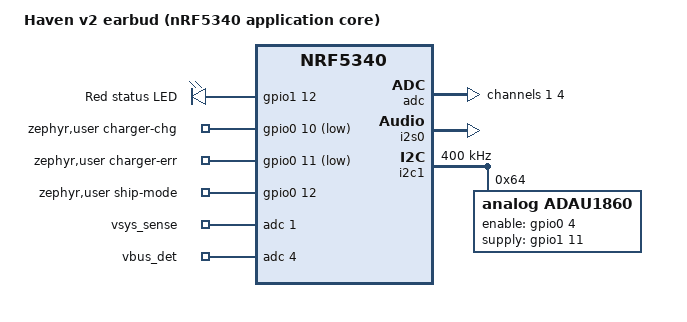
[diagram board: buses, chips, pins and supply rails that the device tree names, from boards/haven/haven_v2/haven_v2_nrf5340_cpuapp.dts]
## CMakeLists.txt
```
# Haven nRF5340 firmware — nRF Connect SDK (Zephyr) application
cmake_minimum_required(VERSION 3.20.0)

find_package(Zephyr REQUIRED HINTS $ENV{ZEPHYR_BASE})
project(haven_zephyr_app)

target_sources(app PRIVATE
  src/main.c
  src/ble_transport.c
  src/protocol.c
  src/adau1860_control.c
  src/lark_fdsp_program.c
  src/lark_eq_program.c
  src/tone_gen.c
  src/gatt_audio_service.c
  src/mock_audio_pipeline.c
  src/settings_store.c
  src/tone_safety.c
  src/ack.c
  src/wake_button.c
)

# Resolves DT_NODELABEL(tac5301) at file scope, which only the TAC5301 bench
# overlay defines.
target_sources_ifdef(CONFIG_HAVEN_CODEC_TAC5301 app PRIVATE src/tac5301_control.c)
```

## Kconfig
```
mainmenu "Haven nRF5340 firmware"

menu "Haven"

choice HAVEN_CODEC
	prompt "Which codec this build's control-port init targets"
	default HAVEN_CODEC_ADAU1860

config HAVEN_CODEC_ADAU1860
	bool "ADAU1860 (proven path; nRF5340 DK bench overlay and openearable_v2 board)"

config HAVEN_CODEC_TAC5301
	bool "TAC5301-Q1 (breadboard bench test; see TAC5301_BENCH_EXPERIMENT.md)"
	help
	  Pair with boards/nrf5340dk_nrf5340_cpuapp_tac5301.overlay (the
	  default nrf5340dk overlay targets the ADAU1860 instead, at a
	  different I2C address) -- that overlay's own header comment has the
	  exact west build invocation. tac5301_control.c is unit-tested on
	  host (tests/host/test_tac5301_coeffs.c) but, as of this option's
	  addition, NOT YET RUN ON REAL HARDWARE.
endchoice

config HAVEN_FDSP_RATE_HZ
	int "FastDSP frame rate the biquad coefficients are designed for (Hz)"
	default 192000
	help
	  Must equal the ADAU1860 FastDSP frame-rate source selected by
	  FDSP_CTRL4 (upstream OpenEarable: DMIC01 at 192 kHz). If a notch
	  commanded at f0 lands at f0/4 on hardware, this is what's wrong.
	  Q5.27 precision at 192 kHz is adequate for every band the protocol
	  allows (worst pure notch still >= 48.9 dB deep, centre error
	  <= 0.2 cents, all designs stable) -- see
	  tools/dsp/results/notch_quantisation.md. docs/fastdsp-program.md
	  has the evidence for the 192 kHz figure itself.

config HAVEN_FDSP_BANK
	int "FastDSP parameter bank to run (0 normal / 1 transparency / 2 ANC)"
	range 0 2
	default 1
	help
	  Upstream's three banks double as audio modes. Bank 0 zeroes the five
	  biquads (mic path silent); bank 1 is the hear-through path Haven's
	  bands are safeloaded into.

choice HAVEN_DAC_SOURCE
	prompt "What feeds the ADAU1860 DAC"
	default HAVEN_DAC_SOURCE_FDSP

config HAVEN_DAC_SOURCE_FDSP
	bool "FastDSP channel 0 (mic -> 5 biquads -> limiter): normal operation"

config HAVEN_DAC_SOURCE_DMIC_DIRECT
	bool "DMIC0 straight to the DAC: first-power-on smoke test, no DSP"
	help
	  Routes the raw PDM microphone to the DAC (DAC_ROUTE0 = 71, per ADI's
	  Lark SDK route enum). Use once on a fresh board: if you hear the room
	  the mic, clocks, DAC and receiver all work and any later silence is a
	  FastDSP program/routing question, not hardware. No filters and no
	  limiter are in this path -- never wear the device in this mode.

config HAVEN_DAC_SOURCE_EQ
	bool "Hardware EQ engine fed from DMIC0 (Route B): hear-through without a FastDSP program"
	help
	  Routes the PDM mic into the codec's dedicated EQ engine (EQ_ROUTE = 71)
	  and the EQ output to the DAC (DAC_ROUTE0 = 75). Haven's five bands are
	  written into the EQ's parameter banks (six biquad stages, 28-bit 4.24
	  words, [-a1,-a2,b0,b1,b2] -- see tools/dsp/eq_bank_decode.py) with
	  bank-flip updates. Independent of the FastDSP program's internal
	  routing, so it is the fallback if FastDSP hear-through is silent. The
	  FastDSP's expander/limiter are NOT in this path; the DAC output
	  ceiling (HAVEN_OUTPUT_CEILING_DB) still is. UNVERIFIED on hardware.
endchoice

config HAVEN_OUTPUT_CEILING_DB
	int "Hardware output ceiling: DAC digital volume in dB (24 .. -60)"
	range -60 24
	default 0
	help
	  Written to DAC_VOL0 at boot as code = (24 - dB) / 0.375 (ADI Lark SDK:
	  "output dB = 24 - 0.375 * volume; 0xFF mutes"). Sits after every DSP
	  path (FastDSP, EQ engine, I2S tone) and is not reachable from the app,
	  so it is the one level cap that holds regardless of what any program
	  or BLE client does. 0 dB reproduces upstream's setting to within
	  0.375 dB (upstream wrote code 63 = +0.375 dB). Digital only: the
	  mapping to dB SPL at the ear is unknown until acoustic calibration
	  (haven-app docs/calibration.md); lower this once that is measured.

config HAVEN_TONE_FULL_SCALE_DB
	int "LDL tone: commanded level_db that maps to 0 dBFS on the I2S link"
	range 0 120
	default 85
	help
	  Tone amplitude = 10^((level_db - this)/20) of full scale, so the
	  default puts the protocol's 85 dB ceiling at exactly 0 dBFS -- the
	  loudest the link can carry. This is a NOMINAL placeholder: the real
	  relationship between level_db and dB SPL at the eardrum has to be
	  measured on hardware (haven-app docs/calibration.md), after which
	  this constant -- or a per-frequency table replacing it -- gets the
	  measured value. Do not treat any dB number as physical until then.

choice HAVEN_TONE_ROUTE
	prompt "LDL tone: codec routing while a tone plays"
	default HAVEN_TONE_ROUTE_DAC_DIRECT
	help
	  See docs/tone-path.md.

config HAVEN_TONE_ROUTE_DAC_DIRECT
	bool "DAC fed from the I2S input; hear-through paused for the tone"
	help
	  Upstream OpenEarable's non-DSP playback route (DAC_ROUTE0 = I2S with
	  serial port 0 -> input ASRC 0). Known to make sound; guarantees the
	  tone is not shaped by the user's own notch filters, which an LDL test
	  requires. Costs hear-through for the duration of the tone.

config HAVEN_TONE_ROUTE_FDSP_MIX
	bool "DAC stays on the FastDSP; rely on the program's mixer slot (unverified)"
	help
	  Leaves DAC_ROUTE0 on FastDSP channel 0 and assumes upstream's
	  program mixes the I2S/ASRC path in at slot 8 after the biquads. Not
	  established -- for hardware experiments only.

endchoice

endmenu

source "Kconfig.zephyr"
```

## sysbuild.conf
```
# nRF5340 is dual-core: the application core (this project, cpuapp) has no
# direct radio hardware — the Bluetooth LE controller lives on the network
# core (cpunet). This tells sysbuild to build and flash the `ipc_radio`
# netcore image (NCS's unified net-core app, configured here for HCI
# serialization over IPC) automatically, connected to our app's Bluetooth
# Host over IPC. Without this, CONFIG_BT=y in prj.conf has nothing to talk
# to and BLE will silently fail to come up.
#
# NOTE: `hci_rpmsg` (the standalone sample this used to reference) was
# replaced by `ipc_radio` starting NCS 2.7 and no longer exists as of
# this repo's pinned v3.4.0 — see nrf/applications/ipc_radio and
# nrf/sysbuild/Kconfig.netcore.
#
# Requires building with sysbuild enabled: `west build --sysbuild ...`
# (see README.md).
SB_CONFIG_NETCORE_IPC_RADIO=y
SB_CONFIG_NETCORE_IPC_RADIO_BT_HCI_IPC=y
```

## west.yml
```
# West manifest for haven_zephyr_app as a standalone out-of-tree NCS
# application. Importing `nrf` pulls in the full nRF Connect SDK manifest
# (Zephyr, hal_nordic, etc.) at the pinned revision below, which is what lets
# `west init -l haven_zephyr_app` (see README.md) work without this repo
# vendoring any SDK code itself.
#
# NOTE: `revision` is pinned to the latest NCS release known at the time this
# file was written. Match it to whatever version nRF Connect for VS Code's
# Toolchain Manager actually installed on your machine (Toolchain Manager ->
# your install -> version string) before running `west update` — a mismatch
# won't fail loudly, it'll just fetch a different SDK version than the
# toolchain you have.
#
# NOTE: `repo-path: sdk-nrf` is required -- the actual GitHub repo is
# nrfconnect/sdk-nrf (renamed from fw-nrfconnect-nrf pre-NCS-1.3.0);
# `nrfconnect/nrf` hasn't existed for years. `name: nrf` still has to stay
# literally "nrf" though: that's what NCS's own manifest-import convention
# keys off of (`import: true` on a project named exactly `nrf`) and what
# the local checkout directory is named. Caught via CI (build 32871505752)
# — this was a real dormant bug, not a CI-environment issue: local builds
# never actually exercised this manifest from scratch, always pointing
# `west build` at a pre-existing NCS checkout set up via the official
# Toolchain Manager instead, which already used the correct path.
manifest:
  remotes:
    - name: ncs
      url-base: https://github.com/nrfconnect

  projects:
    - name: nrf
      repo-path: sdk-nrf
      remote: ncs
      revision: v3.4.0
      import: true

  self:
    path: haven_zephyr_app
```

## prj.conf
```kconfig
# ── Bluetooth LE peripheral ──────────────────────────────────────────────────
# On nRF5340 the Host runs here on the app core; the Controller runs on the
# network core via the hci_rpmsg image — see sysbuild.conf.
CONFIG_BT=y
CONFIG_BT_PERIPHERAL=y
CONFIG_BT_DEVICE_NAME="Haven"
CONFIG_BT_DEVICE_APPEARANCE=962
CONFIG_BT_MAX_CONN=1

# Nordic UART Service (NUS) from nRF Connect SDK
CONFIG_BT_NUS=y

# The app negotiates MTU 247 so a 5-band MULTI_FILTER JSON fits in one write.
CONFIG_BT_L2CAP_TX_MTU=247
CONFIG_BT_BUF_ACL_RX_SIZE=251
CONFIG_BT_BUF_ACL_TX_SIZE=251
CONFIG_BT_CTLR_DATA_LENGTH_MAX=251

# ── Buses to the ADAU1860 ───────────────────────────────────────────────────
# I2C1 is the control port (register access / parameter RAM safeload); I2S0
# carries audio data. See boards/nrf5340dk_nrf5340_cpuapp.overlay.
CONFIG_I2C=y
CONFIG_I2S=y

# ── Settings persistence (NVS) for Volume/FreqRange ─────────────────────────
# `storage_partition` already exists in the nRF5340 DK's default flash
# partition table (nrf5340_cpuapp_partition.dtsi) -- no overlay needed.
# CONFIG_SETTINGS=y + CONFIG_NVS=y is enough for the backend choice to
# default to SETTINGS_NVS.
CONFIG_FLASH=y
CONFIG_FLASH_MAP=y
CONFIG_NVS=y
CONFIG_SETTINGS=y

# ── Runtime ─────────────────────────────────────────────────────────────────
CONFIG_MAIN_STACK_SIZE=2048
CONFIG_SYSTEM_WORKQUEUE_STACK_SIZE=2048
CONFIG_HEAP_MEM_POOL_SIZE=4096

# ── Power management ─────────────────────────────────────────────────────────
# Baseline CPU idle power savings (WFE/WFI between work) -- this app has no
# device driver PM state machines to opt into yet (I2C/I2S/GPIO aren't runtime
# suspended), so CONFIG_PM_DEVICE is deliberately not enabled here. See
# ble_transport.c for the advertising-side power saving (fast->slow interval)
# and wake_button.c for the button0 wake trigger.
CONFIG_PM=y
CONFIG_GPIO=y

# strtof/printf of floats for JSON band parsing and logging
CONFIG_PICOLIBC=y
CONFIG_PICOLIBC_IO_FLOAT=y
CONFIG_CBPRINTF_FP_SUPPORT=y

# ── Logging ─────────────────────────────────────────────────────────────────
CONFIG_LOG=y
CONFIG_LOG_DEFAULT_LEVEL=3
CONFIG_USE_SEGGER_RTT=y

# Default 1024B up-buffer fills before boot even finishes (BT HCI core
# alone logs ~700B) and CONFIG_SEGGER_RTT_MODE_NO_BLOCK_SKIP means anything
# past a full buffer is silently dropped rather than blocking or
# overwriting — a snapshot dump taken any time after boot without a
# continuously-draining RTT client attached from t=0 will look like the
# firmware hung right after the last line that fit. Confirmed via
# arch_cpu_idle at the PC, not a crash. Bumped so a whole boot burst fits.
CONFIG_SEGGER_RTT_BUFFER_SIZE_UP=16384
```

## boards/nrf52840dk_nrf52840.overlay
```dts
/*
 * Devkit wiring for the ADAU1860 DSP.
 *
 * Control port  : I2C0  (ADAU1860 address 0x28 with ADDR0/ADDR1 low)
 * Fast download : SPI1  (self-boot/program + coefficient safeload path)
 *
 * Adjust pins to match the production PCB netlist when it lands.
 */

&i2c0 {
	status = "okay";
	clock-frequency = <I2C_BITRATE_FAST>;

	adau1860: adau1860@28 {
		compatible = "adi,adau1860";
		reg = <0x28>;
		status = "okay";
	};
};

&spi1 {
	status = "okay";
	cs-gpios = <&gpio0 20 GPIO_ACTIVE_LOW>;

	adau1860_spi: adau1860_spi@0 {
		compatible = "adi,adau1860-spi";
		reg = <0>;
		spi-max-frequency = <8000000>;
		status = "okay";
	};
};
```

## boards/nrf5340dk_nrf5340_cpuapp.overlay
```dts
/*
 * nRF5340 DK wiring for the ADAU1860 DSP — application core.
 *
 * Control port : I2C1 (Arduino-header pins on the DK; ADAU1860 at 0x64)
 * Audio data   : I2S0 (multichannel PCM to/from the DSP)
 *
 * This enables the DK's own default pin mapping for each peripheral rather
 * than hand-specifying pinctrl — there is no production PCB yet. Once the
 * Haven dev board schematic lands, replace this file's bus choice and add a
 * board-specific overlay alongside it; don't edit pins here blind.
 *
 * NOTE: confirm i2c1 is in fact the Arduino-header bus for your exact NCS/
 * Zephyr version before wiring real hardware to the DK — Nordic DK bus
 * numbering has occasionally shifted between SDK releases and board
 * revisions. i2c0 is the fallback if i2c1 turns out to be reserved for an
 * onboard peripheral on this revision.
 *
 * NOTE: 0x64 is the real ADAU1860 address per the actual Haven Dev Board
 * schematic (EasyEDA Pro, "OpenEarable - Main v2.7", ADDR0/ADDR1 strapping
 * — confirmed 2026-08-25, replacing the earlier 0x28 placeholder guessed
 * before any schematic existed). Address is a property of the chip's
 * strapping, not the board it's wired to, so this holds whether the real
 * ADAU1860 ends up bench-wired to this DK or on the production board
 * directly. The *bus* (i2c1 here) is still DK-specific, separate question
 * from the address -- the schematic's own "I2C1" label refers to the
 * production board's bus numbering, not necessarily this DK's &i2c1 node;
 * still needs reconciling once real hardware is in hand.
 *
 * REFERENCE — real Haven Dev Board pin assignments, read directly off the
 * MDBT531/MDBT53 (nRF5340) module symbol in the schematic (2026-08-25).
 * Recorded here for whenever a real board-specific overlay gets built;
 * NOT applied to the DK pins below, since the DK's Arduino header doesn't
 * expose several of these GPIOs at all (confirmed against its own
 * gpio-map -- e.g. P0.28 isn't broken out on this DK's header):
 *   I2C1 (dedicated ADAU1860 bus, separate from the main SDA/SCL used by
 *         the charger/fuel gauge): SDA1 = P1.15, SCL1 = P1.00
 *   I2S:  DIN (ADAU1860->nRF, i.e. SDIN) = P0.28
 *         BCLK                          = P1.10
 *         LRCLK                         = P0.30
 *         DOUT (nRF->ADAU1860, i.e. SDOUT) = P0.31
 *   No MCK net visible between the module and the ADAU1860 -- see the I2S
 *   pinctrl comment below for why.
 */

&i2c1 {
	status = "okay";
	clock-frequency = <I2C_BITRATE_FAST>;

	adau1860: adau1860@64 {
		compatible = "adi,adau1860";
		reg = <0x64>;
		status = "okay";
	};
};

/*
 * The DK's board-level pinctrl (nrf5340_cpuapp_common-pinctrl.dtsi) has no
 * i2s0 state at all — I2S isn't part of the DK's standard Arduino-header
 * mapping the way i2c1 is — so it's defined here instead. Routed to
 * Arduino D4-D8 (gpio1 6-10), which are otherwise unused by the DK's
 * leds/buttons/i2c1/uart0/uart1/qspi/spi4.
 *
 * NOTE: was assuming nRF5340 as I2S *master* -- switched to *slave*
 * (2026-08-25) based on real schematic evidence, not just a guess either
 * way: the ADAU1860 has its own dedicated 24.576MHz crystal directly on
 * its XTALI/XTALO pins, a classic audio master-clock frequency, strongly
 * suggesting *it* generates BCLK/LRCLK and the nRF5340 receives them --
 * standard architecture for a system where a dedicated audio DSP anchors
 * the clock domain. No MCK net is visible between the module and the
 * ADAU1860 in the schematic either, consistent with slave mode (MCK is
 * only meaningful as a master-mode output). Confirm against the ADAU1860
 * datasheet before this matters for real -- nothing exercises actual I2S
 * hardware yet either way (adau1860_control.c's audio path is still
 * unwired), so this is a documentation correction, not yet a functional
 * one.
 */
&pinctrl {
	i2s0_default: i2s0_default {
		group1 {
			psels = <NRF_PSEL(I2S_SCK_S, 1, 6)>,
				<NRF_PSEL(I2S_LRCK_S, 1, 7)>,
				<NRF_PSEL(I2S_SDOUT, 1, 8)>,
				<NRF_PSEL(I2S_SDIN, 1, 9)>;
		};
	};

	i2s0_sleep: i2s0_sleep {
		group1 {
			psels = <NRF_PSEL(I2S_SCK_S, 1, 6)>,
				<NRF_PSEL(I2S_LRCK_S, 1, 7)>,
				<NRF_PSEL(I2S_SDOUT, 1, 8)>,
				<NRF_PSEL(I2S_SDIN, 1, 9)>;
			low-power-enable;
		};
	};
};

&i2s0 {
	status = "okay";
	pinctrl-0 = <&i2s0_default>;
	pinctrl-1 = <&i2s0_sleep>;
	pinctrl-names = "default", "sleep";
};
```

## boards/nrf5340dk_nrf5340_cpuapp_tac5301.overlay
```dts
/*
 * nRF5340 DK bench wiring for a TAC5301-Q1 (breadboard, chip hand-soldered
 * to a QFN-24 0.5mm adapter board) — application core.
 *
 * Control port : I2C1 (Arduino-header SDA/SCL on the DK; TAC5301 at 0x50 --
 *                datasheet SLASFD9A §6.4.1, "the 7-bit I2C target address
 *                is fixed to 7'b1010000"). No enable/reset pin to drive,
 *                unlike the ADAU1860 overlay's P1.04 -- confirmed from this
 *                driver's own binding note (dts/bindings/ti,tac5301-q1.yaml):
 *                the part's only pins are power rails, I2C, and the audio
 *                serial bus.
 * Audio data   : I2S0, nRF5340 as MASTER -- same 4 pins as the default
 *                nrf5340dk overlay's ADAU1860 bench (Arduino D4-D7 /
 *                gpio1 6-9), so both bench setups share identical physical
 *                wiring and only the chip on the breadboard changes.
 *                tone_gen.c's calibration tone still goes out on SDOUT, but
 *                the TAC5301 ignores it for this test: MIXER_CFG0's
 *                EN_DAC_ASI_MIXER bit is left at its reset default 0 (see
 *                TAC5301_BENCH_EXPERIMENT.md register-write step 4), so the
 *                DAC hears only the chip's internal ADC -> loopback-mixer ->
 *                DAC path. BCLK/FSYNC still have to toggle continuously --
 *                that's the only reason I2S needs to be live at all here --
 *                for the TAC5301's PLL to lock onto them (datasheet §6.3.2:
 *                every internal clock auto-configures off the BCLK/FSYNC
 *                ratio, no MCLK pin on this part).
 *
 * This DK is only a bench for the codec's control plane, same role as the
 * default overlay's ADAU1860 bench. Build with:
 *
 *   west build -b nrf5340dk/nrf5340/cpuapp --sysbuild haven_zephyr_app -- \
 *     -DBOARD_ROOT="$(pwd)" \
 *     -DEXTRA_DTC_OVERLAY_FILE=boards/nrf5340dk_nrf5340_cpuapp_tac5301.overlay \
 *     -DCONFIG_HAVEN_CODEC_TAC5301=y
 *
 * (EXTRA_DTC_OVERLAY_FILE layers on top of the board's own default overlay,
 * nrf5340dk_nrf5340_cpuapp.overlay -- it does not replace it. That file's
 * adau1860@64 node is deliberately left in place next to tac5301@50 (different
 * addresses, no bus conflict): adau1860_control.c resolves its node at file
 * scope and is still linked, since main.c/tone_safety.c call into it, so
 * deleting the node breaks the build. In this build its init never runs, so
 * nothing ever drives its enable pin or talks to 0x64. The i2c1 bus node, i2s0 pinctrl, i2s0, and
 * clock nodes below re-specify the same properties the default overlay
 * already sets, which devicetree overlays merge rather than conflict on, so
 * restating them here is just for this file to read standalone.)
 *
 * Bench power rails (see TAC5301_BENCH_EXPERIMENT.md): IOVDD/AVDD/DVDD
 * (1.8V/3.3V) can come straight off the DK's own external-supply pin
 * (P20 pin 2, SW9=VDD / SW10=OFF, 1.7-3.6V range, <=100mA -- confirmed
 * against Nordic's nRF5340 DK v2.0.0 hardware guide, "Supplying a custom
 * board" section) instead of a separate bench supply. HVDD (the mic-bias
 * rail, ~9V) is the one rail the DK genuinely cannot produce -- needs a
 * separate 9V source (a 9V battery is fine for a bench test).
 */

&i2c1 {
	status = "okay";
	clock-frequency = <I2C_BITRATE_FAST>;

	tac5301: tac5301@50 {
		compatible = "ti,tac5301-q1";
		reg = <0x50>;
		status = "okay";
	};
};

&pinctrl {
	i2s0_default: i2s0_default {
		group1 {
			psels = <NRF_PSEL(I2S_SCK_M, 1, 6)>,
				<NRF_PSEL(I2S_LRCK_M, 1, 7)>,
				<NRF_PSEL(I2S_SDOUT, 1, 8)>,
				<NRF_PSEL(I2S_SDIN, 1, 9)>;
		};
	};

	i2s0_sleep: i2s0_sleep {
		group1 {
			psels = <NRF_PSEL(I2S_SCK_M, 1, 6)>,
				<NRF_PSEL(I2S_LRCK_M, 1, 7)>,
				<NRF_PSEL(I2S_SDOUT, 1, 8)>,
				<NRF_PSEL(I2S_SDIN, 1, 9)>;
			low-power-enable;
		};
	};
};

&i2s0 {
	status = "okay";
	pinctrl-0 = <&i2s0_default>;
	pinctrl-1 = <&i2s0_sleep>;
	pinctrl-names = "default", "sleep";
	clock-source = "ACLK";
};

&clock {
	hfclkaudio-frequency = <12288000>;
};
```

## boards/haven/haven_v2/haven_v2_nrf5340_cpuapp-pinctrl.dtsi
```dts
/*
 * Haven v2 pin map, from the v2 schematic (haven-dev-board-kicad, kicad_v2/README.md,
 * "nRF5340 pin map vs v1"). The MDBT53V-1M brings out only 25 GPIOs, so the codec bus and
 * I2S moved off v1's pins.
 */
&pinctrl {
	/* nRF5340 is I2S master. SDOUT P0.15 -> codec SDATAI_0 (net DIN),
	 * SDIN P0.31 <- codec SDATAO_0 (net DOUT). No MCK: the codec runs from its own crystal. */
	i2s0_default: i2s0_default {
		group1 {
			psels = <NRF_PSEL(I2S_SCK_M, 0, 13)>,
				<NRF_PSEL(I2S_LRCK_M, 0, 14)>,
				<NRF_PSEL(I2S_SDOUT, 0, 15)>,
				<NRF_PSEL(I2S_SDIN, 0, 31)>;
		};
	};

	i2s0_sleep: i2s0_sleep {
		group1 {
			psels = <NRF_PSEL(I2S_SCK_M, 0, 13)>,
				<NRF_PSEL(I2S_LRCK_M, 0, 14)>,
				<NRF_PSEL(I2S_SDOUT, 0, 15)>,
				<NRF_PSEL(I2S_SDIN, 0, 31)>;
			low-power-enable;
		};
	};

	/* Codec control port. P1.02/P1.03 are also the nRF5340's dedicated
	 * pins for 1 Mbit/s TWIM, so this bus can go faster later. */
	i2c1_default: i2c1_default {
		group1 {
			psels = <NRF_PSEL(TWIM_SCL, 1, 3)>,
				<NRF_PSEL(TWIM_SDA, 1, 2)>;
		};
	};

	i2c1_sleep: i2c1_sleep {
		group1 {
			psels = <NRF_PSEL(TWIM_SCL, 1, 3)>,
				<NRF_PSEL(TWIM_SDA, 1, 2)>;
			low-power-enable;
		};
	};
};
```

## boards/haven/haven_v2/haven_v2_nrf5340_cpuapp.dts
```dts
/*
 * Haven v2 earbud, application core: Raytac MDBT53V-1M (nRF5340), ADAU1860 codec,
 * SPH0641 PDM mic (into the codec), Nordic nPM1100 PMIC, charged through two case
 * pogo pins. No USB, button, UART, flash, SD, IMU or fuel gauge.
 */

/dts-v1/;
#include <nordic/nrf5340_cpuapp_qkaa.dtsi>
#include "haven_v2_nrf5340_cpuapp-pinctrl.dtsi"

/ {
	model = "Haven v2 earbud (nRF5340 application core)";
	compatible = "haven,haven-v2-nrf5340-cpuapp";

	chosen {
		zephyr,sram = &sram0_image;
		zephyr,flash = &flash0;
		zephyr,code-partition = &slot0_partition;
		zephyr,sram-secure-partition = &sram0_s;
		zephyr,sram-non-secure-partition = &sram0_ns;
		zephyr,bt-hci = &bt_hci_ipc0;
		watchdog0 = &wdt0;
	};

	leds {
		compatible = "gpio-leds";
		/* Red status LED, switched by Q2 (gate high = on). */
		led_status: led_status {
			gpios = <&gpio1 12 GPIO_ACTIVE_HIGH>;
			label = "Red status LED";
		};
	};

	aliases {
		led0 = &led_status;
		watchdog0 = &wdt0;
	};

	/*
	 * nPM1100 signals and ADC inputs. No driver uses these yet; they are here so
	 * charger/battery code has one place to read the pins from
	 * (DT_PATH(zephyr_user), e.g. GPIO_DT_SPEC_GET(DT_PATH(zephyr_user), charger_chg_gpios)).
	 *  - CHG / ERR: nPM1100 open-drain outputs, low = charging / error.
	 *  - SHPACT: high puts the PMIC in ship mode (it leaves ship mode when the
	 *    bud is put back in the case and VBUS appears).
	 *  - io-channels: battery level (VSYS divider, AIN1) and in-case detect (VBUS divider, AIN4).
	 */
	zephyr,user {
		charger-chg-gpios = <&gpio0 10 (GPIO_ACTIVE_LOW | GPIO_PULL_UP)>;
		charger-err-gpios = <&gpio0 11 (GPIO_ACTIVE_LOW | GPIO_PULL_UP)>;
		ship-mode-gpios = <&gpio0 12 GPIO_ACTIVE_HIGH>;
		io-channels = <&adc 1>, <&adc 4>;
		io-channel-names = "vsys_sense", "vbus_det";
	};
};

&clock {
	/* 12.288 MHz audio PLL for an exact 48 kHz I2S frame clock. */
	hfclkaudio-frequency = <12288000>;
};

/* 32 MHz crystal inside the module. Same setting as v1's MDBT53-1M; confirm against the
 * MDBT53V-1M spec before production. */
&hfxo {
	load-capacitors = "internal";
	load-capacitance-femtofarad = <8000>;
};

/* 32.768 kHz crystal with external 9 pF caps (C2/C14), as on v1. */
&lfxo {
	load-capacitors = "external";
};

&gpiote {
	status = "okay";
};

&gpio0 {
	status = "okay";
};

&gpio1 {
	status = "okay";
};

&adc {
	status = "okay";
	#address-cells = <1>;
	#size-cells = <0>;

	/* Dividers are ~1 MOhm source impedance, so use the longest acquisition time. */
	channel@1 {
		reg = <1>;
		zephyr,gain = "ADC_GAIN_1_6";
		zephyr,reference = "ADC_REF_INTERNAL";
		zephyr,acquisition-time = <ADC_ACQ_TIME(ADC_ACQ_TIME_MICROSECONDS, 40)>;
		zephyr,input-positive = <NRF_SAADC_AIN1>; /* P0.05, VSYS_SENSE */
		zephyr,resolution = <12>;
	};

	channel@4 {
		reg = <4>;
		zephyr,gain = "ADC_GAIN_1_6";
		zephyr,reference = "ADC_REF_INTERNAL";
		zephyr,acquisition-time = <ADC_ACQ_TIME(ADC_ACQ_TIME_MICROSECONDS, 40)>;
		zephyr,input-positive = <NRF_SAADC_AIN4>; /* P0.25, VBUS_DET */
		zephyr,resolution = <12>;
	};
};

&i2s0 {
	compatible = "nordic,nrf-i2s";
	status = "okay";
	pinctrl-0 = <&i2s0_default>;
	pinctrl-1 = <&i2s0_sleep>;
	pinctrl-names = "default", "sleep";
	clock-source = "ACLK";
};

&i2c1 {
	compatible = "nordic,nrf-twim";
	status = "okay";
	pinctrl-0 = <&i2c1_default>;
	pinctrl-1 = <&i2c1_sleep>;
	pinctrl-names = "default", "sleep";
	clock-frequency = <I2C_BITRATE_FAST>;

	adau1860: adau1860@64 {
		compatible = "analog,adau1860";
		reg = <0x64>;
		enable-gpios = <&gpio0 4 GPIO_ACTIVE_HIGH>;   /* PD# (ball E4) */
		/* U3 load switch (SENSORS_ENABLE): powers the codec and the mic. */
		supply-gpios = <&gpio1 11 GPIO_ACTIVE_HIGH>;
		supply-delay-us = <300>;
	};
};

#include <nordic/nrf5340_cpuapp_partition.dtsi>
```

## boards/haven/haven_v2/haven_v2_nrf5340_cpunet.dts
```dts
/*
 * Haven v2 earbud, network core (BLE controller via ipc_radio). No peripherals pinned here.
 */

/dts-v1/;
#include <nordic/nrf5340_cpunet_qkaa.dtsi>

/ {
	model = "Haven v2 earbud (nRF5340 network core)";
	compatible = "haven,haven-v2-nrf5340-cpunet";

	chosen {
		zephyr,bt-hci-ipc = &ipc0;
		zephyr,sram = &sram1;
		zephyr,flash = &flash1;
		zephyr,code-partition = &slot0_partition;
		watchdog0 = &wdt0;
	};
};

&gpiote {
	status = "okay";
};

&flash1 {
	partitions {
		compatible = "fixed-partitions";
		#address-cells = <1>;
		#size-cells = <1>;

		boot_partition: partition@0 {
			label = "mcuboot";
			reg = <0x00000000 0xc000>;
		};
		slot0_partition: partition@c000 {
			label = "image-0";
			reg = <0x0000C000 0x12000>;
		};
		slot1_partition: partition@1e000 {
			label = "image-1";
			reg = <0x0001E000 0x12000>;
		};
		storage_partition: partition@3a000 {
			label = "storage";
			reg = <0x0003a000 0x6000>;
		};
	};
};

#include <nordic/nrf5340_shared_sram_partition.dtsi>
```

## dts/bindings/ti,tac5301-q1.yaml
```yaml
# TAC5301-Q1 mono audio codec, I2C control port.
#
# Unlike the ADAU1860 binding (analog,adau1860.yaml), this part has no
# enable/reset pin at all -- confirmed from the datasheet's pin table
# (SLASFD9A section 4): only power rails, I2C, and the audio serial bus.
# Bring-up is power-rail sequencing (datasheet section 6.4) plus I2C writes,
# nothing GPIO-driven.

description: Texas Instruments TAC5301-Q1 mono audio codec (I2C control port)

compatible: "ti,tac5301-q1"

include: i2c-device.yaml
```

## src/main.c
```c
/* Haven nRF5340 firmware
 *
 * Pipeline: NUS write → line assembler → protocol_parse_line() → ADAU1860
 * driver → one JSON ack back over NUS TX. Parsing, DSP dispatch and the ack
 * run in the BLE receive path (Bluetooth RX thread); nothing here blocks.
 */
#include <zephyr/kernel.h>
#include <zephyr/logging/log.h>

#if __has_include(<app_version.h>)
#include <app_version.h>
#endif
#ifndef APP_VERSION_STRING
#define APP_VERSION_STRING "dev"
#endif

#include "ack.h"
#include "adau1860_control.h"
#include "ble_transport.h"
#include "gatt_audio_service.h"
#include "mock_audio_pipeline.h"
#include "protocol.h"
#include "settings_store.h"
#ifdef CONFIG_HAVEN_CODEC_TAC5301
#include "tac5301_control.h"
#endif
#include "tone_gen.h"
#include "tone_safety.h"
#include "wake_button.h"

LOG_MODULE_REGISTER(main, LOG_LEVEL_INF);

/* Best-effort: an ack the link can't take right now (-ENOMEM/-EAGAIN when
 * the TX buffer pool is exhausted, -ENOTCONN if the phone left between the
 * write and the reply) is dropped, not retried -- the app treats acks as
 * confirmation, not as state, and a retry loop in the BT RX path would be
 * worse than a missing ack.
 */
static void send_line(const char *buf, int len)
{
	if (len <= 0) {
		return;
	}
	int err = ble_transport_send(buf, (size_t)len);

	if (err) {
		LOG_DBG("ack dropped (err %d)", err);
	}
}

static int dispatch(const struct dsp_command *cmd)
{
	int err = 0;

	switch (cmd->type) {
	case DSP_CMD_MULTI_FILTER:
		LOG_INF("MULTI_FILTER: %u band(s)", cmd->band_count);
		err = adau1860_control_set_bypass(false);
		if (!err) {
			err = adau1860_control_apply_filters(cmd->bands, cmd->band_count);
		}
		break;
	case DSP_CMD_BYPASS:
		err = adau1860_control_set_bypass(cmd->bypass_enabled);
		break;
	case DSP_CMD_TONE_START:
		tone_safety_start(cmd->tone_f0_hz, cmd->tone_level_db);
		break;
	case DSP_CMD_TONE_LEVEL:
		tone_safety_set_level(cmd->tone_level_db);
		break;
	case DSP_CMD_TONE_STOP:
		tone_safety_stop();
		break;
	default:
		break;
	}
	return err;
}

static void handle_line(const char *line)
{
	struct dsp_command cmd;
	char ack[ACK_MAX_LEN];
	int err = protocol_parse_line(line, &cmd);

	if (err) {
		LOG_WRN("Rejected payload: %s", line);
		send_line(ack, ack_format_rejected(ack, sizeof(ack)));
		return;
	}

	err = dispatch(&cmd);
	send_line(ack, ack_format_command(&cmd, err, ack, sizeof(ack)));
}

/* tone_safety.c auto-silenced a tone (no keep-alive). Tell the app, which
 * otherwise only learns its own ramp state machine has gone quiet.
 */
static void on_tone_watchdog(void)
{
	char ev[ACK_MAX_LEN];

	send_line(ev, ack_format_event_tone_watchdog(ev, sizeof(ev)));
}

/* The app subscribes to NUS TX right after connecting; the boot event is
 * how it learns which firmware (and which DAC source / FastDSP rate) it is
 * talking to, so a smoke-test build can never masquerade as the product.
 */
static void on_ble_connected(void)
{
	char ev[ACK_MAX_LEN];

	adau1860_control_on_ble_connected();
	send_line(ev, ack_format_event_boot(APP_VERSION_STRING,
					     (uint32_t)ADAU1860_FDSP_RATE_HZ,
					     IS_ENABLED(CONFIG_HAVEN_DAC_SOURCE_DMIC_DIRECT)
						     ? "dmic_direct"
						     : "fdsp",
					     ev, sizeof(ev)));
}

/* Losing the BLE link must silence any active tone immediately, the same
 * way haven-app's own useLdlTone does on its side (docs/safety.md) --
 * independently, not because the app told us to. A plain wrapper here
 * (rather than teaching adau1860_control.c about tone_safety.c) keeps that
 * module's only dependency on tone_safety.h one-directional.
 */
static void on_ble_disconnected(void)
{
	adau1860_control_on_ble_disconnected();
	tone_safety_stop();
}

int main(void)
{
	LOG_INF("Haven firmware boot (%s)", APP_VERSION_STRING);

	int err;

#ifdef CONFIG_HAVEN_CODEC_TAC5301
	/* Bench build: everything else in this file (BLE/GATT, tone_gen's
	 * I2S0-master clock, mock pipeline) boots unchanged. tone_gen's I2S0
	 * clock has to run even though the TAC5301 ignores its data -- it's the
	 * BCLK/FSYNC the TAC5301's PLL locks to (TAC5301_BENCH_EXPERIMENT.md
	 * step 2). The ADAU1860 calls elsewhere (BLE command handlers,
	 * tone_safety.c) are still linked and would just fail with no device at
	 * 0x64 -- no BLE client is expected during this bench test.
	 */
	err = tac5301_control_init();
	if (err) {
		LOG_ERR("TAC5301 control init failed (err %d)", err);
	}
#else
	err = adau1860_control_init();
	if (err) {
		LOG_ERR("ADAU1860 control init failed (err %d)", err);
	}
#endif

	/* nRF-side LDL tone generator (I2S0 master). Independent of the codec
	 * init above: on a DK without a codec it still streams, which is how
	 * the I2S clocking gets checked with a scope. */
	err = tone_gen_init();
	if (err) {
		LOG_WRN("Tone generator init failed (err %d) -- TONE_* will be no-ops", err);
	}

	tone_safety_set_watchdog_cb(on_tone_watchdog);
	ble_transport_set_conn_callbacks(on_ble_connected, on_ble_disconnected);

	err = ble_transport_init(handle_line);
	if (err) {
		LOG_ERR("BLE init failed (err %d)", err);
		return err;
	}

	/* BT_GATT_SERVICE_DEFINE registers the service automatically inside
	 * bt_enable() (called from ble_transport_init() above); this just
	 * confirms it and logs the bench-default parameter values.
	 */
	gatt_audio_service_init();
	mock_audio_pipeline_init();

	/* After mock_audio_pipeline_init() so a restored value's callback
	 * (registered by that call) actually fires -- otherwise the pipeline
	 * would start from its own hardcoded defaults instead of whatever
	 * was last saved.
	 */
	haven_settings_init();

	err = wake_button_init();
	if (err) {
		LOG_WRN("Wake button init failed (err %d) -- continuing without it", err);
	}

	LOG_INF("Ready — waiting for app connection");
	return 0;
}
```

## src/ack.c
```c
#include "ack.h"

#include <stdio.h>

#include "ble_transport.h"

static const char *cmd_type_name(enum dsp_command_type type)
{
	switch (type) {
	case DSP_CMD_MULTI_FILTER:
		return "MULTI_FILTER";
	case DSP_CMD_BYPASS:
		return "BYPASS";
	case DSP_CMD_TONE_START:
		return "TONE_START";
	case DSP_CMD_TONE_LEVEL:
		return "TONE_LEVEL";
	case DSP_CMD_TONE_STOP:
		return "TONE_STOP";
	default:
		return "UNKNOWN";
	}
}

void ack_send(enum dsp_command_type type)
{
	char msg[48];
	int len = snprintf(msg, sizeof(msg), "{\"type\":\"ACK\",\"cmd\":\"%s\"}\n",
			    cmd_type_name(type));

	/* A future cmd_type_name() entry longer than fits would truncate/
	 * misformat rather than send garbage -- snprintf's own return value
	 * (would-have-written length) makes that case detectable here rather
	 * than sending a corrupt ack.
	 */
	if (len > 0 && len < (int)sizeof(msg)) {
		ble_transport_send(msg, (size_t)len);
	}
}

void ack_send_error(void)
{
	static const char msg[] = "{\"type\":\"ERROR\"}\n";

	ble_transport_send(msg, sizeof(msg) - 1);
}
```

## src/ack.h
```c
/* Device -> app acks over NUS TX.
 *
 * ble_transport_send() has existed since the transport was written for
 * exactly this purpose ("Optional device -> app notification (status/acks)
 * over NUS TX"), but nothing ever called it -- the app never subscribed
 * either. Both were roadmap items (docs/roadmap.md, "Next -- app").
 *
 * Kept deliberately tiny: which command landed, or that the line was
 * rejected -- not a structured error taxonomy. The app only needs enough
 * to show a quiet "applied"/"error" state, not a JSON dump (that's exactly
 * what the old TX monitor did and was removed for being too
 * engineering-facing).
 */
#ifndef HAVEN_ACK_H_
#define HAVEN_ACK_H_

#include "protocol.h"

/* Sends {"type":"ACK","cmd":"<name>"}\n over NUS TX. No-op (silently) if
 * there's no active connection -- ble_transport_send() already handles
 * that, same as every other outbound message on this link.
 */
void ack_send(enum dsp_command_type type);

/* Sends {"type":"ERROR"}\n over NUS TX, for a line that failed to parse. */
void ack_send_error(void);

#endif /* HAVEN_ACK_H_ */
```

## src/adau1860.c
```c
#include "adau1860.h"

#include <math.h>

#include <zephyr/kernel.h>
#include <zephyr/logging/log.h>

LOG_MODULE_REGISTER(adau1860, LOG_LEVEL_INF);

#define ADAU1860_SAMPLE_RATE_HZ 48000.0f

/* ── Bus placeholders ───────────────────────────────────────────────────────
 * TODO(hw-bringup): bind to the devicetree nodes (adi,adau1860 on i2c0 and
 * adi,adau1860-spi on spi1) and implement the real control-port transactions,
 * including the safeload handshake for glitch-free coefficient swaps.
 */

static int adau1860_i2c_write(uint16_t reg, const uint8_t *data, size_t len)
{
	LOG_DBG("I2C write [placeholder]: reg 0x%04x, %u bytes", reg,
		(unsigned int)len);
	return 0;
}

static int adau1860_spi_burst_write(uint32_t addr, const uint8_t *data,
				    size_t len)
{
	LOG_DBG("SPI burst [placeholder]: addr 0x%08x, %u bytes", addr,
		(unsigned int)len);
	return 0;
}

/* ── Coefficient math ───────────────────────────────────────────────────────
 * Same RBJ cookbook math validated on the Teensy prototype and in
 * tinnitus_dsp/test_filter.py, extended with a variable-depth peaking cut:
 * at PROTOCOL_ATTEN_MAX_DB the band degenerates to the classic notch.
 */
static void calc_band_coeffs(const struct filter_band *band,
			     struct adau1860_biquad *c)
{
	float w0 = 2.0f * (float)M_PI * (band->f0_hz / ADAU1860_SAMPLE_RATE_HZ);
	float alpha = sinf(w0) / (2.0f * band->q);
	float cosw0 = cosf(w0);

	if (band->atten_db >= PROTOCOL_ATTEN_MAX_DB) {
		/* Pure notch */
		float a0 = 1.0f + alpha;

		c->b0 = 1.0f / a0;
		c->b1 = -2.0f * cosw0 / a0;
		c->b2 = 1.0f / a0;
		c->a1 = -2.0f * cosw0 / a0;
		c->a2 = (1.0f - alpha) / a0;
	} else {
		/* Peaking EQ cut of atten_db decibels */
		float A = powf(10.0f, -band->atten_db / 40.0f);
		float a0 = 1.0f + alpha / A;

		c->b0 = (1.0f + alpha * A) / a0;
		c->b1 = -2.0f * cosw0 / a0;
		c->b2 = (1.0f - alpha * A) / a0;
		c->a1 = -2.0f * cosw0 / a0;
		c->a2 = (1.0f - alpha / A) / a0;
	}
}

/* ── Public API ─────────────────────────────────────────────────────────────*/

int adau1860_init(void)
{
	/* TODO(hw-bringup): read CHIP_ID register, verify, release HIBERNATE,
	 * SPI-download the SigmaStudio+ program image, start the DSP core.
	 */
	LOG_INF("ADAU1860 init [placeholder] — no hardware transactions yet");
	return 0;
}

int adau1860_apply_filters(const struct filter_band *bands, size_t count)
{
	if (count > PROTOCOL_MAX_BANDS) {
		count = PROTOCOL_MAX_BANDS;
	}

	for (size_t i = 0; i < count; i++) {
		struct adau1860_biquad c;

		calc_band_coeffs(&bands[i], &c);

		LOG_INF("Band %u: f0=%.1f Hz Q=%.1f atten=%.1f dB", (unsigned int)i,
			(double)bands[i].f0_hz, (double)bands[i].q,
			(double)bands[i].atten_db);

		/* TODO(hw-bringup): convert c to the DSP's coefficient format
		 * and safeload into the parameter RAM slot for stage i:
		 *   adau1860_i2c_write(PARAM_RAM_STAGE(i), coeff_bytes, len);
		 */
		ARG_UNUSED(c);
	}

	/* TODO(hw-bringup): zero the coefficients of the (MAX_BANDS - count)
	 * unused cascade stages so stale filters don't linger.
	 */
	(void)adau1860_i2c_write;
	(void)adau1860_spi_burst_write;
	return 0;
}

int adau1860_set_bypass(bool enabled)
{
	/* TODO(hw-bringup): flip the DSP program's bypass mux register. */
	LOG_INF("Bypass [placeholder]: %s", enabled ? "ENABLED" : "disabled");
	return 0;
}
```

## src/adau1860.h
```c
/* ADAU1860 DSP control driver — SCAFFOLD.
 *
 * The nRF52 is control-port master to the ADAU1860:
 *   - I2C  : register access / parameter RAM safeload (default path)
 *   - SPI  : bulk program download (self-boot image, coefficient blocks)
 *
 * Everything here is a placeholder: the bus transactions are stubbed until
 * the production PCB arrives and the SigmaStudio+ program layout (parameter
 * RAM addresses for each biquad stage) is exported.
 */
#ifndef HAVEN_ADAU1860_H_
#define HAVEN_ADAU1860_H_

#include <stdbool.h>
#include <stddef.h>
#include <stdint.h>

#include "protocol.h"

/* One biquad stage in the form the DSP program consumes.
 * NOTE: coefficient number format (8.24 fixed vs 32-bit float) depends on the
 * ADAU1860 core config exported from SigmaStudio+ — TODO confirm and convert
 * in adau1860_apply_filters().
 */
struct adau1860_biquad {
	float b0, b1, b2, a1, a2;
};

/* Bring-up: verify device ID over I2C, release from reset, load DSP program.
 * Currently logs and returns 0 without touching hardware.
 */
int adau1860_init(void);

/* Compute biquad coefficients for each band and push them into the DSP's
 * parameter RAM (safeload). Bands with atten_db < PROTOCOL_ATTEN_MAX_DB get a
 * peaking-cut EQ of that depth; at the max they collapse to a pure notch.
 */
int adau1860_apply_filters(const struct filter_band *bands, size_t count);

/* True = audio passes through unprocessed. */
int adau1860_set_bypass(bool enabled);

#endif /* HAVEN_ADAU1860_H_ */
```

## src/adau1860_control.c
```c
#include "adau1860_control.h"

#include <math.h>
#include <string.h>

/* picolibc's math.h only exposes M_PI under a feature-test macro that
 * -std=c17 doesn't define. */
#ifndef M_PI
#define M_PI 3.14159265358979323846f
#endif

#include <zephyr/kernel.h>
#include <zephyr/logging/log.h>
#include <zephyr/drivers/i2c.h>

LOG_MODULE_REGISTER(adau1860_control, LOG_LEVEL_INF);

#define ADAU1860_SAMPLE_RATE_HZ 48000.0f

/* ── Bus binding ─────────────────────────────────────────────────────────
 * Resolved from the "adau1860" child node declared under &i2c1 in
 * boards/nrf5340dk_nrf5340_cpuapp.overlay. I2C_DT_SPEC_GET works without a
 * dedicated Zephyr driver binding for the ADAU1860 itself — it only needs a
 * `reg` property and a bus parent with a real driver (nordic,nrf-twim).
 */
static const struct i2c_dt_spec adau1860_i2c = I2C_DT_SPEC_GET(DT_NODELABEL(adau1860));

/* ── Generic SigmaDSP register I/O ────────────────────────────────────────
 * The ADAU1860 is part of ADI's SigmaDSP family; its own datasheet doesn't
 * publish a general register map (confirmed against the datasheet, the
 * product FAQ, and EngineerZone community reports -- Analog Devices expects
 * register-level programming to come from a SigmaStudio+-exported firmware
 * blob, not hand-picked addresses). What *is* standardized across the whole
 * SigmaDSP family, and confirmed against both the Linux kernel's generic
 * `sigmadsp` codec driver and a real, widely-used Arduino reference
 * implementation (MCUdude/SigmaDSP): 16-bit register addresses, sent
 * big-endian (MSByte first) immediately before the data payload, on both
 * plain register writes and multi-byte "safeload" writes. This layer
 * implements exactly that framing and nothing chip-specific -- callers still
 * need real addresses, which come from the SigmaStudio+ export once it
 * exists (see adau1860_control_init()'s TODO below).
 */
int adau1860_i2c_write_reg(uint16_t addr, const uint8_t *data, size_t len)
{
	uint8_t addr_buf[2] = { (uint8_t)(addr >> 8), (uint8_t)(addr & 0xFF) };
	/* Two messages, only the last carrying I2C_MSG_STOP, so the controller
	 * keeps the bus held between them -- this is one contiguous I2C
	 * transaction (address bytes then data, no repeated START in between),
	 * not two separate ones. Avoids copying arbitrarily large payloads
	 * (a whole program-memory WRITEXBYTES chunk, for the blob loader) into
	 * a fixed-size stack buffer first.
	 */
	struct i2c_msg msgs[2] = {
		{
			.buf = addr_buf,
			.len = sizeof(addr_buf),
			.flags = I2C_MSG_WRITE,
		},
		{
			.buf = (uint8_t *)data,
			.len = len,
			.flags = I2C_MSG_WRITE | I2C_MSG_STOP,
		},
	};
	int err = i2c_transfer_dt(&adau1860_i2c, msgs, ARRAY_SIZE(msgs));

	if (err) {
		LOG_DBG("I2C write failed (err %d), reg 0x%04x, %u bytes", err, addr,
			(unsigned int)len);
	}
	return err;
}

int adau1860_i2c_read_reg(uint16_t addr, uint8_t *data, size_t len)
{
	uint8_t addr_buf[2] = { (uint8_t)(addr >> 8), (uint8_t)(addr & 0xFF) };
	int err = i2c_write_read_dt(&adau1860_i2c, addr_buf, sizeof(addr_buf), data, len);

	if (err) {
		LOG_DBG("I2C read failed (err %d), reg 0x%04x, %u bytes", err, addr,
			(unsigned int)len);
	}
	return err;
}

/* TODO(hw-bringup): the audio data path (I2S0, see the overlay) still needs
 * a driver-level init once the ADAU1860's required PCM format (sample width,
 * frame clock polarity, channel count) is confirmed from the datasheet /
 * SigmaStudio+ export. Not wired yet — control plane comes first.
 */

/* ── Coefficient math ───────────────────────────────────────────────────────
 * Same RBJ cookbook math validated on the Teensy prototype and in
 * tinnitus_dsp/test_filter.py, extended with a variable-depth peaking cut:
 * at PROTOCOL_ATTEN_MAX_DB the band degenerates to the classic notch.
 */
static void calc_band_coeffs(const struct filter_band *band,
			     struct adau1860_biquad *c)
{
	float w0 = 2.0f * (float)M_PI * (band->f0_hz / ADAU1860_SAMPLE_RATE_HZ);
	float alpha = sinf(w0) / (2.0f * band->q);
	float cosw0 = cosf(w0);

	if (band->atten_db >= PROTOCOL_ATTEN_MAX_DB) {
		/* Pure notch */
		float a0 = 1.0f + alpha;

		c->b0 = 1.0f / a0;
		c->b1 = -2.0f * cosw0 / a0;
		c->b2 = 1.0f / a0;
		c->a1 = -2.0f * cosw0 / a0;
		c->a2 = (1.0f - alpha) / a0;
	} else {
		/* Peaking EQ cut of atten_db decibels */
		float A = powf(10.0f, -band->atten_db / 40.0f);
		float a0 = 1.0f + alpha / A;

		c->b0 = (1.0f + alpha * A) / a0;
		c->b1 = -2.0f * cosw0 / a0;
		c->b2 = (1.0f - alpha * A) / a0;
		c->a1 = -2.0f * cosw0 / a0;
		c->a2 = (1.0f - alpha / A) / a0;
	}
}

/* ── Public API ─────────────────────────────────────────────────────────────*/

int adau1860_control_init(void)
{
	if (!device_is_ready(adau1860_i2c.bus)) {
		LOG_ERR("I2C1 bus not ready");
		return -ENODEV;
	}

	/* TODO(hw-bringup): once a SigmaStudio+ project for this board exists
	 * and is exported, this is where its firmware blob gets loaded --
	 * release HIBERNATE, stream the program over I2C (or SPI, depending
	 * on how the export is configured), start the DSP core. There is no
	 * public ADAU1860 register map to hand-write this against (checked:
	 * the datasheet's own I2C section doesn't include one, consistent
	 * with EngineerZone reports for this chip) -- adau1860_i2c_write_reg()
	 * / _read_reg() above implement the generic SigmaDSP-family wire
	 * framing (confirmed against the Linux kernel's `sigmadsp` codec
	 * driver and a real Arduino SigmaDSP library), ready for whatever
	 * real register addresses the export actually contains.
	 */
	LOG_INF("ADAU1860 control init: I2C1 bus ready, addr 0x%02x [no register "
		"transactions yet]", adau1860_i2c.addr);
	return 0;
}

int adau1860_control_apply_filters(const struct filter_band *bands, size_t count)
{
	if (count > PROTOCOL_MAX_BANDS) {
		count = PROTOCOL_MAX_BANDS;
	}

	for (size_t i = 0; i < count; i++) {
		struct adau1860_biquad c;

		calc_band_coeffs(&bands[i], &c);

		LOG_INF("Band %u: f0=%.1f Hz Q=%.1f atten=%.1f dB", (unsigned int)i,
			(double)bands[i].f0_hz, (double)bands[i].q,
			(double)bands[i].atten_db);

		/* TODO(hw-bringup): convert c to the DSP's coefficient format
		 * and safeload into the parameter RAM slot for stage i, e.g.:
		 *   uint8_t frame[PARAM_FRAME_LEN];
		 *   encode_param_ram_write(&c, frame);
		 *   adau1860_i2c_write_reg(PARAM_RAM_STAGE_ADDR(i), frame, sizeof(frame));
		 * PARAM_RAM_STAGE_ADDR() doesn't exist yet -- it's a real address
		 * from the SigmaStudio+ export, not something to guess at.
		 */
		ARG_UNUSED(c);
	}

	/* TODO(hw-bringup): zero the coefficients of the (MAX_BANDS - count)
	 * unused cascade stages so stale filters don't linger.
	 */
	return 0;
}

int adau1860_control_set_bypass(bool enabled)
{
	/* TODO(hw-bringup): flip the DSP program's bypass mux register. */
	LOG_INF("Bypass [placeholder]: %s", enabled ? "ENABLED" : "disabled");
	return 0;
}

int adau1860_control_set_tone(float f0_hz, float level_db)
{
	/* TODO(hw-bringup): program the DSP's tone generator (frequency +
	 * output gain register) once the SigmaStudio+ program layout for it
	 * is known. Caller (tone_safety.c) has already clamped level_db to
	 * PROTOCOL_TONE_LEVEL_MAX_DB.
	 */
	LOG_INF("Tone [placeholder]: f0=%.1f Hz level=%.1f dB", (double)f0_hz,
		(double)level_db);
	return 0;
}

int adau1860_control_set_tone_level(float level_db)
{
	/* TODO(hw-bringup): update just the tone generator's output gain
	 * register, leaving frequency untouched.
	 */
	LOG_INF("Tone level [placeholder]: %.1f dB", (double)level_db);
	return 0;
}

int adau1860_control_stop_tone(void)
{
	/* TODO(hw-bringup): mute the tone generator specifically, without
	 * otherwise disturbing the main filter/bypass signal path.
	 */
	LOG_INF("Tone stop [placeholder]");
	return 0;
}

void adau1860_control_on_ble_connected(void)
{
	LOG_INF("BLE connected [placeholder] — no DSP state change yet");
}

void adau1860_control_on_ble_disconnected(void)
{
	LOG_INF("BLE disconnected [placeholder] — no DSP state change yet");
}
```

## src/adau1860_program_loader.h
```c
/* Parses a SigmaStudio+-exported firmware blob and streams its write
 * actions to the ADAU1860 over I2C. See docs/sigmastudio-build-spec.md for
 * what that export needs to contain and docs/... for how to get one.
 */
#ifndef HAVEN_ADAU1860_PROGRAM_LOADER_H_
#define HAVEN_ADAU1860_PROGRAM_LOADER_H_

#include <stddef.h>
#include <stdint.h>

/* Parse and execute every write action in a SigmaStudio+ "V1" export
 * (magic "ADISIGM", sequential {instr, len, addr, payload} actions --
 * confirmed against the Linux kernel's sigmadsp.c reference parser, not
 * guessed at). Returns 0 if every action executed successfully and the
 * blob ended in a well-formed SIGMA_ACTION_END, a negative errno otherwise
 * (malformed blob, I2C failure, or truncated data).
 *
 * NOTE: SIGMA_ACTION_WRITESAFELOAD actions are deliberately NOT dispatched
 * as plain register writes -- see the .c file's comment on why a plain
 * write there would silently skip the glitch-free atomic-update mechanism
 * safeload exists for. They're currently logged and skipped, not applied.
 * Real safeload support needs the ADAU1860's specific staging-register
 * addresses, which aren't part of the exported blob itself.
 */
int adau1860_program_load(const uint8_t *blob, size_t len);

#endif /* HAVEN_ADAU1860_PROGRAM_LOADER_H_ */
```
